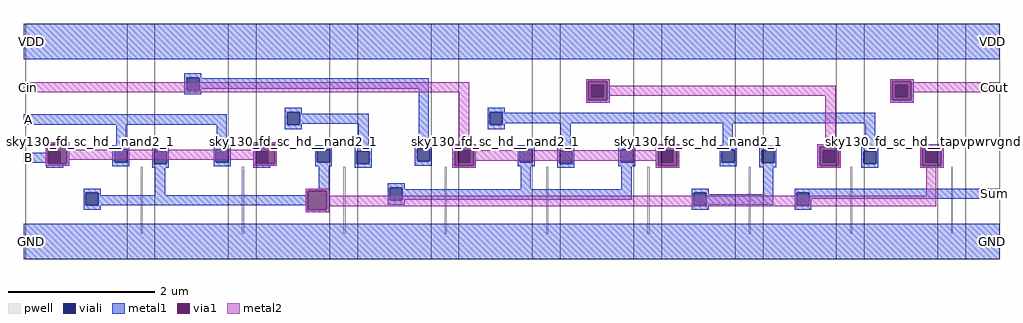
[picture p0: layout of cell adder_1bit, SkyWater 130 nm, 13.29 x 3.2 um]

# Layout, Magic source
magic
tech sky130A
magscale 1 2
<< pwell >>
rect 313 69 319 251
rect 589 69 595 251
rect 865 69 871 251
rect 1141 69 1147 251
rect 1417 69 1423 251
rect 1693 69 1699 251
rect 1969 69 1975 251
rect 2245 69 2251 251
rect 2521 69 2525 251
<< viali >>
rect 438 460 472 494
rect 1540 440 1574 474
rect 2368 440 2402 474
rect 712 366 746 400
rect 1264 366 1298 400
rect 62 260 96 294
rect 242 264 276 298
rect 350 260 384 294
rect 518 264 552 298
rect 626 260 660 294
rect 794 264 828 298
rect 902 260 936 294
rect 1066 266 1100 300
rect 1176 262 1210 296
rect 1346 264 1380 298
rect 1454 260 1488 294
rect 1620 264 1654 298
rect 1730 262 1764 296
rect 1896 264 1930 298
rect 2004 262 2038 296
rect 2170 262 2204 296
rect 2282 260 2316 294
rect 2450 262 2484 296
rect 164 146 198 180
rect 992 160 1026 194
rect 1820 146 1854 180
rect 2100 146 2134 180
<< metal1 >>
rect -6 544 2652 640
rect 432 494 478 506
rect 432 460 438 494
rect 472 492 478 494
rect 472 464 1098 492
rect 472 460 478 464
rect 432 448 478 460
rect 706 400 752 412
rect -6 366 548 394
rect 54 312 118 318
rect 54 290 60 312
rect -6 262 60 290
rect 54 260 60 262
rect 112 260 118 312
rect 246 310 274 366
rect 520 310 548 366
rect 706 366 712 400
rect 746 396 752 400
rect 746 368 934 396
rect 746 366 752 368
rect 706 354 752 366
rect 620 312 684 318
rect 54 254 118 260
rect 236 298 282 310
rect 236 264 242 298
rect 276 264 282 298
rect 56 248 102 254
rect 236 252 282 264
rect 344 294 390 306
rect 344 260 350 294
rect 384 260 390 294
rect 344 248 390 260
rect 512 298 558 310
rect 512 264 518 298
rect 552 264 558 298
rect 512 252 558 264
rect 620 260 626 312
rect 678 260 684 312
rect 620 254 684 260
rect 788 298 834 310
rect 906 306 934 368
rect 1070 312 1098 464
rect 1526 484 1590 490
rect 1526 432 1532 484
rect 1584 432 1590 484
rect 1526 426 1590 432
rect 2354 484 2418 490
rect 2354 432 2360 484
rect 2412 432 2418 484
rect 2354 426 2418 432
rect 1258 400 1304 412
rect 1258 366 1264 400
rect 1298 398 1304 400
rect 1298 370 2314 398
rect 1298 366 1304 370
rect 1258 354 1304 366
rect 788 264 794 298
rect 828 264 834 298
rect 620 248 666 254
rect 788 252 834 264
rect 896 294 942 306
rect 896 260 902 294
rect 936 260 942 294
rect 158 180 204 192
rect 158 146 164 180
rect 198 174 204 180
rect 352 174 380 248
rect 798 192 826 252
rect 896 248 942 260
rect 1060 300 1106 312
rect 1060 266 1066 300
rect 1100 266 1106 300
rect 1060 254 1106 266
rect 1162 306 1226 312
rect 1162 254 1168 306
rect 1220 254 1226 306
rect 1162 248 1226 254
rect 1340 298 1386 310
rect 1456 306 1484 370
rect 1340 264 1346 298
rect 1380 264 1386 298
rect 1340 252 1386 264
rect 1448 294 1494 306
rect 1448 260 1454 294
rect 1488 260 1494 294
rect 762 186 826 192
rect 762 174 768 186
rect 198 146 768 174
rect 158 134 204 146
rect 762 134 768 146
rect 820 134 826 186
rect 986 194 1032 206
rect 986 160 992 194
rect 1026 190 1032 194
rect 1348 190 1376 252
rect 1448 248 1494 260
rect 1614 298 1660 310
rect 1614 264 1620 298
rect 1654 264 1660 298
rect 1614 252 1660 264
rect 1716 306 1780 312
rect 1898 310 1926 370
rect 1716 254 1722 306
rect 1774 254 1780 306
rect 1622 190 1650 252
rect 1716 248 1780 254
rect 1890 298 1936 310
rect 1890 264 1896 298
rect 1930 264 1936 298
rect 1890 252 1936 264
rect 1998 296 2044 308
rect 1998 262 2004 296
rect 2038 262 2044 296
rect 1998 250 2044 262
rect 2156 306 2220 312
rect 2286 306 2314 370
rect 2436 306 2500 312
rect 2156 254 2162 306
rect 2214 254 2220 306
rect 1026 162 1650 190
rect 1814 180 1860 192
rect 1026 160 1032 162
rect 986 148 1032 160
rect 1814 146 1820 180
rect 1854 176 1860 180
rect 2008 176 2036 250
rect 2156 248 2220 254
rect 2276 294 2322 306
rect 2276 260 2282 294
rect 2316 260 2322 294
rect 2276 248 2322 260
rect 2436 254 2442 306
rect 2494 254 2500 306
rect 2436 248 2500 254
rect 1854 148 2036 176
rect 2094 180 2652 192
rect 1854 146 1860 148
rect 1814 134 1860 146
rect 2094 146 2100 180
rect 2134 164 2652 180
rect 2134 146 2140 164
rect 2094 134 2140 146
rect 762 128 826 134
rect -6 0 2652 96
<< via1 >>
rect 60 294 112 312
rect 60 260 62 294
rect 62 260 96 294
rect 96 260 112 294
rect 626 294 678 312
rect 626 260 660 294
rect 660 260 678 294
rect 1532 474 1584 484
rect 1532 440 1540 474
rect 1540 440 1574 474
rect 1574 440 1584 474
rect 1532 432 1584 440
rect 2360 474 2412 484
rect 2360 440 2368 474
rect 2368 440 2402 474
rect 2402 440 2412 474
rect 2360 432 2412 440
rect 1168 296 1220 306
rect 1168 262 1176 296
rect 1176 262 1210 296
rect 1210 262 1220 296
rect 1168 254 1220 262
rect 768 134 820 186
rect 1722 296 1774 306
rect 1722 262 1730 296
rect 1730 262 1764 296
rect 1764 262 1774 296
rect 1722 254 1774 262
rect 2162 296 2214 306
rect 2162 262 2170 296
rect 2170 262 2204 296
rect 2204 262 2214 296
rect 2162 254 2214 262
rect 2442 296 2494 306
rect 2442 262 2450 296
rect 2450 262 2484 296
rect 2484 262 2494 296
rect 2442 254 2494 262
<< metal2 >>
rect 1526 484 1590 490
rect -6 454 1208 482
rect 54 312 118 318
rect 54 260 60 312
rect 112 298 118 312
rect 620 312 684 318
rect 1180 312 1208 454
rect 1526 432 1532 484
rect 1584 472 1590 484
rect 2354 484 2418 490
rect 1584 444 2206 472
rect 1584 432 1590 444
rect 1526 426 1590 432
rect 2178 312 2206 444
rect 2354 432 2360 484
rect 2412 482 2418 484
rect 2412 454 2652 482
rect 2412 432 2418 454
rect 2354 426 2418 432
rect 620 298 626 312
rect 112 270 626 298
rect 112 260 118 270
rect 54 254 118 260
rect 620 260 626 270
rect 678 260 684 312
rect 620 254 684 260
rect 1162 306 1226 312
rect 1162 254 1168 306
rect 1220 296 1226 306
rect 1716 306 1780 312
rect 1716 296 1722 306
rect 1220 268 1722 296
rect 1220 254 1226 268
rect 1162 248 1226 254
rect 1716 254 1722 268
rect 1774 254 1780 306
rect 1716 248 1780 254
rect 2156 306 2220 312
rect 2156 254 2162 306
rect 2214 254 2220 306
rect 2156 248 2220 254
rect 2436 306 2500 312
rect 2436 254 2442 306
rect 2494 254 2500 306
rect 2436 248 2500 254
rect 762 186 826 192
rect 762 134 768 186
rect 820 172 826 186
rect 2452 172 2480 248
rect 820 144 2480 172
rect 820 134 826 144
rect 762 128 826 134
use sky130_fd_sc_hd__tapvpwrvgnd_1  sky130_fd_sc_hd__tapvpwrvgnd_1_0 $PDKPATH/libs.ref/sky130_fd_sc_hd/mag
transform 1 0 2522 0 1 48
box -38 -48 130 592
use sky130_fd_sc_hd__nand2_1  x1 $PDKPATH/libs.ref/sky130_fd_sc_hd/mag
transform 1 0 38 0 1 48
box -38 -48 314 592
use sky130_fd_sc_hd__nand2_1  x2
transform 1 0 314 0 1 48
box -38 -48 314 592
use sky130_fd_sc_hd__nand2_1  x3
transform 1 0 590 0 1 48
box -38 -48 314 592
use sky130_fd_sc_hd__nand2_1  x4
transform 1 0 866 0 1 48
box -38 -48 314 592
use sky130_fd_sc_hd__nand2_1  x5
transform 1 0 1142 0 1 48
box -38 -48 314 592
use sky130_fd_sc_hd__nand2_1  x6
transform 1 0 1418 0 1 48
box -38 -48 314 592
use sky130_fd_sc_hd__nand2_1  x7
transform 1 0 1694 0 1 48
box -38 -48 314 592
use sky130_fd_sc_hd__nand2_1  x8
transform 1 0 1970 0 1 48
box -38 -48 314 592
use sky130_fd_sc_hd__nand2_1  x9
transform 1 0 2246 0 1 48
box -38 -48 314 592
<< labels >>
rlabel metal1 -6 366 22 394 1 A
port 0 n signal input
rlabel metal1 -6 262 22 290 1 B
port 1 n signal input
rlabel metal2 -6 454 22 482 1 Cin
port 2 n signal input
rlabel metal2 2624 454 2652 482 1 Cout
port 3 n signal output
rlabel metal1 2624 164 2652 192 1 Sum
port 4 n signal output
rlabel metal1 2614 544 2652 640 1 VDD
port 5 n power input
rlabel metal1 2614 0 2652 96 1 GND
port 6 n ground input
rlabel metal1 -6 544 38 640 1 VDD
port 5 n power input
rlabel metal1 -6 0 38 96 1 GND
port 6 n ground input
<< end >>
